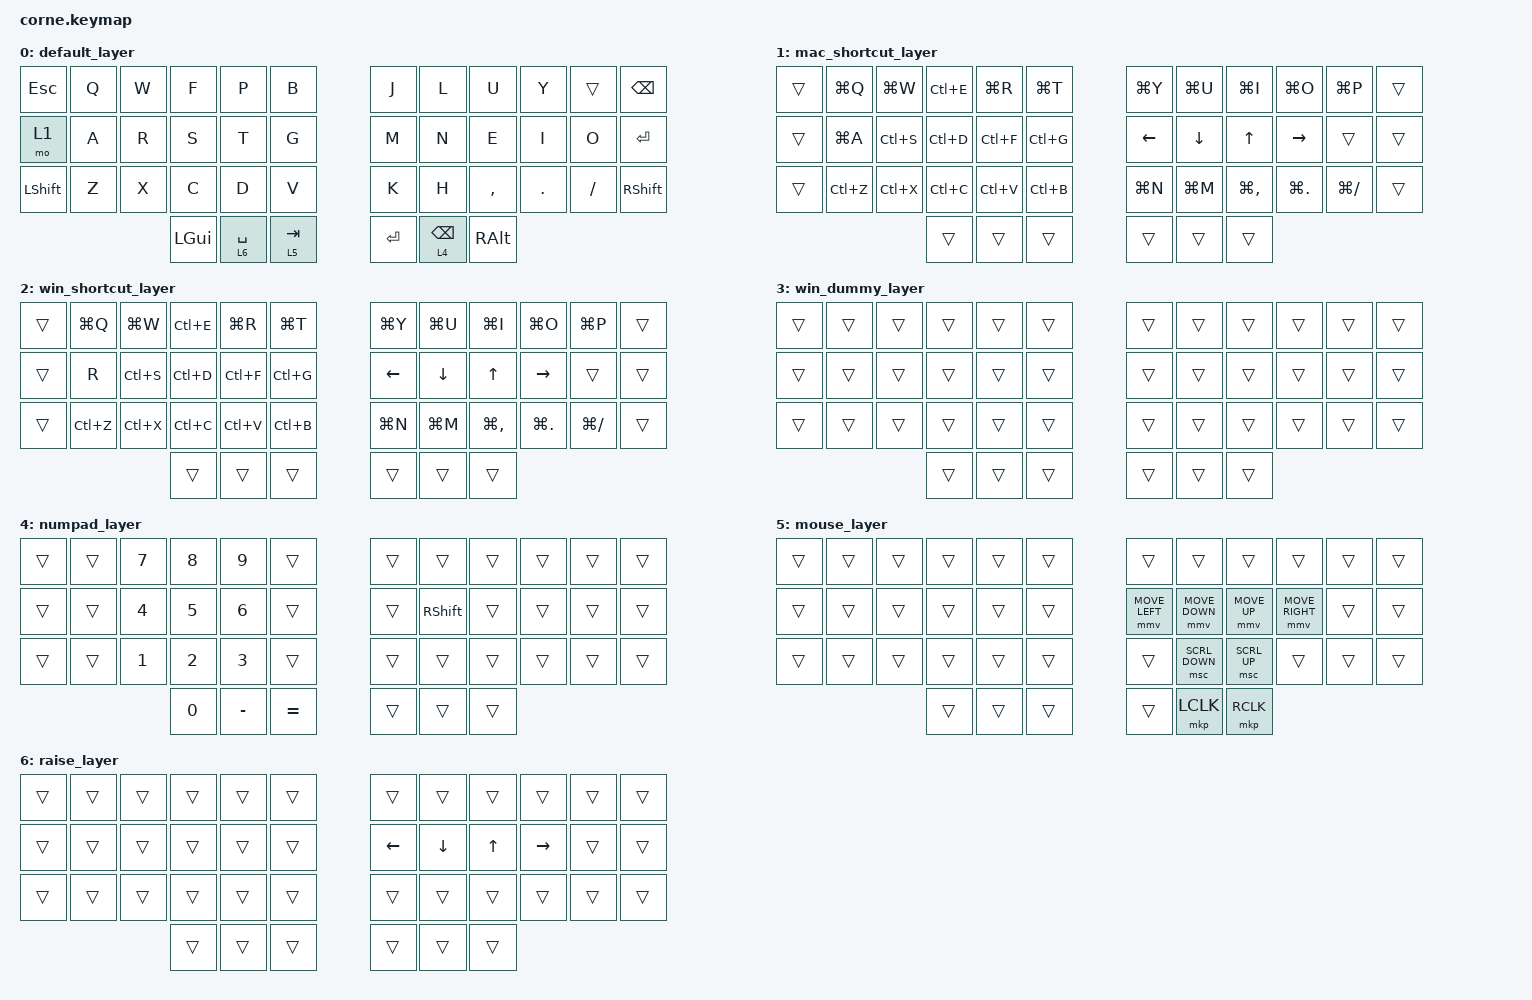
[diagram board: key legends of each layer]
/*
 * Copyright (c) 2020 The ZMK Contributors
 *
 * SPDX-License-Identifier: MIT
 */

#include <behaviors.dtsi>
#include <dt-bindings/zmk/bt.h>
#include <dt-bindings/zmk/keys.h>
#include <dt-bindings/zmk/pointing.h>

/ {
    behaviors {
        hold_layer: hold_layer {
            compatible = "zmk,behavior-hold-tap";
            label = "HOLD_LAYER";
            bindings = <&mo>, <&kp>;

            #binding-cells = <2>;
            tapping-term-ms = <200>;
        };
    };

    combos {
        compatible = "zmk,combos";

        toggle_win {
            bindings = <&tog 3>;
            key-positions = <20 21 22 23>;
        };

        lgui_home_mod {
            bindings = <&kp LGUI>;
            key-positions = <15 16>;
        };

        lcrtl_home_mod {
            bindings = <&kp LCTL>;
            key-positions = <15 16>;
            layers = <3>;
        };

        lshift_home_mod {
            bindings = <&kp LSHIFT>;
            key-positions = <14 15>;
        };

        lalt_home_mod {
            bindings = <&kp LALT>;
            key-positions = <13 14>;
        };

        rgui_home_mod {
            bindings = <&kp RGUI>;
            key-positions = <19 20>;
        };

        rctl_home_mod {
            bindings = <&kp RCTL>;
            key-positions = <19 20>;
            layers = <3>;
        };

        rshift_home_mod {
            bindings = <&kp RSHIFT>;
            key-positions = <20 21>;
        };

        ralt_home_mod {
            bindings = <&kp RALT>;
            key-positions = <21 22>;
        };

        opening_square_bracket {
            bindings = <&kp LEFT_BRACE>;
            key-positions = <7 8>;
        };

        closing_square_bracket {
            bindings = <&kp RIGHT_BRACE>;
            key-positions = <8 9>;
        };

        opening_curly_bracket {
            bindings = <&kp LEFT_BRACKET>;
            key-positions = <31 32>;
        };

        closing_curly_bracket {
            bindings = <&kp RIGHT_BRACKET>;
            key-positions = <32 33>;
        };

        opening_paren {
            bindings = <&kp LEFT_PARENTHESIS>;
            key-positions = <2 3>;
        };

        closing_paren {
            bindings = <&kp RIGHT_PARENTHESIS>;
            key-positions = <3 4>;
        };

        opening_angle_bracket {
            bindings = <&kp LS(COMMA)>;
            key-positions = <26 27>;
        };

        closing_angle_bracket {
            bindings = <&kp RS(DOT)>;
            key-positions = <27 28>;
        };

        single_quote {
            bindings = <&kp SQT>;
            key-positions = <31 33>;
        };

        double_quote {
            bindings = <&kp DQT>;
            key-positions = <7 9>;
        };

        colon {
            bindings = <&kp COLON>;
            key-positions = <7 8 9>;
        };

        semicolon {
            bindings = <&kp SEMICOLON>;
            key-positions = <31 32 33>;
        };

        pipe {
            bindings = <&kp PIPE>;
            key-positions = <2 4>;
        };

        backslash {
            bindings = <&kp BSLH>;
            key-positions = <26 28>;
        };

        tilde {
            bindings = <&kp TILD>;
            key-positions = <2 3 4>;
        };

        grave {
            bindings = <&kp GRAVE>;
            key-positions = <26 27 28>;
        };

        clearbt {
            bindings = <&bt BT_CLR_ALL>;
            key-positions = <6 10>;
        };

        left_control {
            bindings = <&kp LEFT_CONTROL>;
            key-positions = <16 15 14>;
        };

        right_control {
            bindings = <&kp RIGHT_CONTROL>;
            key-positions = <19 20 21>;
        };
    };

    keymap {
        compatible = "zmk,keymap";

        default_layer {
            bindings = <
&kp ESC    &kp Q  &kp W  &kp F     &kp P                &kp B                &kp J    &kp L                    &kp U      &kp Y    &trans    &kp BSPC
&mo 1      &kp A  &kp R  &kp S     &kp T                &kp G                &kp M    &kp N                    &kp E      &kp I    &kp O     &kp RET
&kp LSHFT  &kp Z  &kp X  &kp C     &kp D                &kp V                &kp K    &kp H                    &kp COMMA  &kp DOT  &kp FSLH  &kp RSHIFT
                         &kp LGUI  &hold_layer 6 SPACE  &hold_layer 5 TAB    &kp RET  &hold_layer 4 BACKSPACE  &kp RALT
            >;
        };

        mac_shortcut_layer {
            bindings = <
&trans  &kp LG(Q)  &kp LG(W)  &kp LC(E)  &kp LG(R)  &kp LG(T)    &kp LG(Y)  &kp LG(U)  &kp LG(I)      &kp LG(O)    &kp LG(P)      &trans
&trans  &kp LG(A)  &kp LC(S)  &kp LC(D)  &kp LC(F)  &kp LC(G)    &kp LEFT   &kp DOWN   &kp UP         &kp RIGHT    &trans         &trans
&trans  &kp LC(Z)  &kp LC(X)  &kp LC(C)  &kp LC(V)  &kp LC(B)    &kp LG(N)  &kp LG(M)  &kp LG(COMMA)  &kp LG(DOT)  &kp LG(SLASH)  &trans
                              &trans     &trans     &trans       &trans     &trans     &trans
            >;
        };

        win_shortcut_layer {
            bindings = <
&trans  &kp LG(Q)  &kp LG(W)  &kp LC(E)  &kp LG(R)  &kp LG(T)    &kp LG(Y)  &kp LG(U)  &kp LG(I)      &kp LG(O)    &kp LG(P)      &trans
&trans  &kp R      &kp LC(S)  &kp LC(D)  &kp LC(F)  &kp LC(G)    &kp LEFT   &kp DOWN   &kp UP         &kp RIGHT    &trans         &trans
&trans  &kp LC(Z)  &kp LC(X)  &kp LC(C)  &kp LC(V)  &kp LC(B)    &kp LG(N)  &kp LG(M)  &kp LG(COMMA)  &kp LG(DOT)  &kp LG(SLASH)  &trans
                              &trans     &trans     &trans       &trans     &trans     &trans
            >;
        };

        win_dummy_layer {
            bindings = <
&trans  &trans  &trans  &trans  &trans  &trans    &trans  &trans  &trans  &trans  &trans  &trans
&trans  &trans  &trans  &trans  &trans  &trans    &trans  &trans  &trans  &trans  &trans  &trans
&trans  &trans  &trans  &trans  &trans  &trans    &trans  &trans  &trans  &trans  &trans  &trans
                        &trans  &trans  &trans    &trans  &trans  &trans
            >;
        };

        numpad_layer {
            bindings = <
&trans  &trans  &kp N7  &kp N8  &kp N9     &trans       &trans  &trans      &trans  &trans  &trans  &trans
&trans  &trans  &kp N4  &kp N5  &kp N6     &trans       &trans  &kp RSHIFT  &trans  &trans  &trans  &trans
&trans  &trans  &kp N1  &kp N2  &kp N3     &trans       &trans  &trans      &trans  &trans  &trans  &trans
                        &kp N0  &kp MINUS  &kp EQUAL    &trans  &trans      &trans
            >;
        };

        mouse_layer {
            bindings = <
&trans  &trans  &trans  &trans  &trans  &trans    &trans          &trans          &trans        &trans           &trans  &trans
&trans  &trans  &trans  &trans  &trans  &trans    &mmv MOVE_LEFT  &mmv MOVE_DOWN  &mmv MOVE_UP  &mmv MOVE_RIGHT  &trans  &trans
&trans  &trans  &trans  &trans  &trans  &trans    &trans          &msc SCRL_DOWN  &msc SCRL_UP  &trans           &trans  &trans
                        &trans  &trans  &trans    &trans          &mkp LCLK       &mkp RCLK
            >;
        };

        raise_layer {
            bindings = <
&trans  &trans  &trans  &trans  &trans  &trans    &trans    &trans    &trans  &trans     &trans  &trans
&trans  &trans  &trans  &trans  &trans  &trans    &kp LEFT  &kp DOWN  &kp UP  &kp RIGHT  &trans  &trans
&trans  &trans  &trans  &trans  &trans  &trans    &trans    &trans    &trans  &trans     &trans  &trans
                        &trans  &trans  &trans    &trans    &trans    &trans
            >;
        };
    };

    conditional_layers {
        compatible = "zmk,conditional-layers";

        dummy_mac_win {
            if-layers = <3 1>;
            then-layer = <2>;
        };
    };
};

